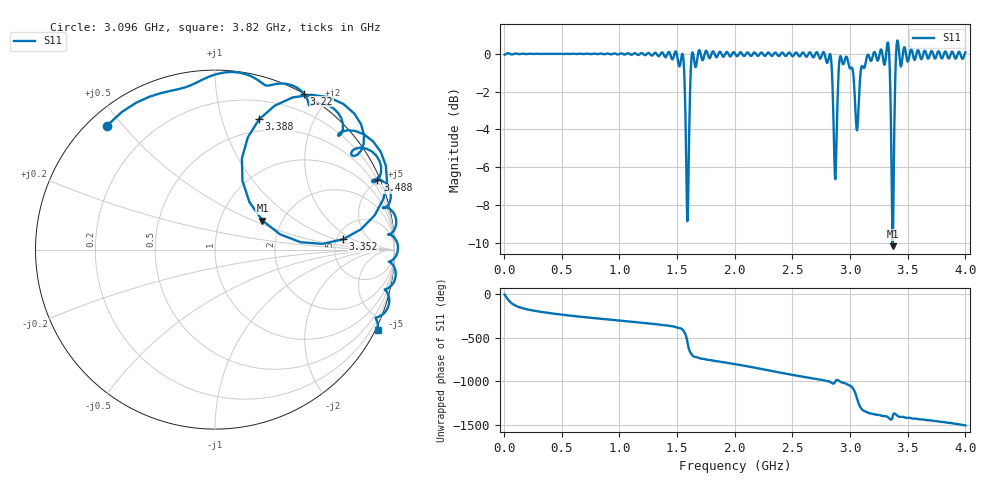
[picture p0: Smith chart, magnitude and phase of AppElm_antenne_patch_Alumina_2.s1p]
! TOUCHSTONE file generated by CST MICROWAVE STUDIO
! Date and time: Thu Jun  9 07:39:55 2022
! Project name: AppElm_antenne_patch_Alumina.cst
! Parameters = {L=30.5; W=33.44; e=0.035; h=1.6; lambda=0.190476; ls=90; w0=1.12; w1=0.373; ws=90; y0=14; y1=10}
! Header version: 2018
! Port assignment regex: !\s*Touchstone port\s*([0-9]+)\s*=\s*(CST MWS port|CST DS port)\s*([0-9]+|Zmin|Zmax)\s*\(\"(.*)\"\)(\s*mode\s*([0-9]+))?.*
! Touchstone port assignment:
! Touchstone port 1 = CST MWS port 1 ("")
# GHz S MA R 50
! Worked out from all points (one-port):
!   1000 points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, 4 MHz to 4 GHz, reference 50 ohm
!   lowest |S11| = -10.2 dB at 3.368 GHz (marker M1), VSWR 1.90, Z = 79.6 + j28.5 ohm
!   |S11| at or under -10 dB: 3.36755 GHz to 3.369546 GHz (1.996 MHz wide, 0.0593 % of centre)
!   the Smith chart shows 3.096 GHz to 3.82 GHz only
!   S11 on the Smith chart (normalised r, x): 3.096 GHz: 0.05, +0.45; 3.22 GHz: -0.00, +1.72; 3.352 GHz: 5.71, +1.35; 3.388 GHz: 0.38, +1.32; 3.488 GHz: 0.19, +4.87; 3.82 GHz: -0.11, -4.25
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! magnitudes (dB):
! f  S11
! 4 MHz  0.0
! 504 MHz  0.0
! 1.004 GHz  0.0
! 1.504 GHz  -0.2
! 1.552 GHz  -0.1
! 1.588 GHz  -8.9
! 1.6 GHz  -5.9
! 1.62 GHz  -0.7
! 1.636 GHz  0.1
! 2.004 GHz  0.0
! 2.504 GHz  -0.1
! 2.82 GHz  -0.1
! 2.872 GHz  -6.6
! 2.916 GHz  -0.1
! 3.004 GHz  -0.8
! 3.06 GHz  -4.1
! 3.096 GHz  -0.8
! 3.22 GHz  0.0
! 3.328 GHz  0.6
! 3.352 GHz  -2.9
! 3.368 GHz  -10.2
! 3.388 GHz  -2.3
! 3.4 GHz  0.1
! 3.412 GHz  0.7
! 3.488 GHz  -0.1
! 3.504 GHz  -0.4
! 3.82 GHz  0.1
! 4 GHz  0.1
